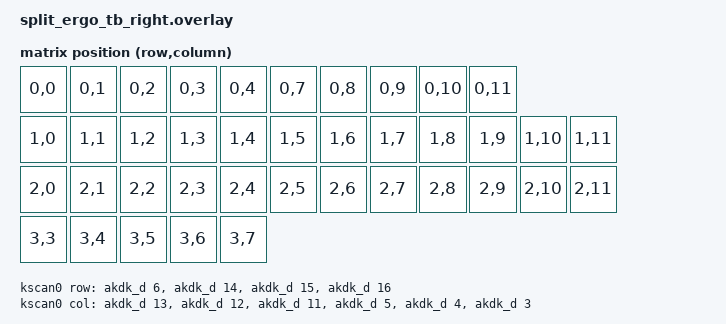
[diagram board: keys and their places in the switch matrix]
#include <dt-bindings/zmk/matrix_transform.h>   // 外部定義ファイルのインクルード
#include <input/processors.dtsi>                // インプットプロセッサのインクルード
#include <dt-bindings/zmk/input_transform.h>    // マトリクス変換のインクルード
#include "layouts.dtsi"                         // レイアウトファイルのインクルード

/ {
    chosen {                                    // 物理レイアウトの最優先設定
        zmk,physical-layout = &physical_layout0;
    };

    default_transform: keymap_transform_0 {     // キーマトリクスを実際の配置に対応付ける設定
        compatible = "zmk,matrix-transform";
        columns = <12>;
        rows = <4>;
        map = <
            RC(0,0) RC(0,1) RC(0,2) RC(0,3) RC(0,4) RC(0,7) RC(0,8) RC(0,9) RC(0,10) RC(0,11)
			RC(1,0) RC(1,1) RC(1,2) RC(1,3) RC(1,4) RC(1,5) RC(1,6) RC(1,7) RC(1,8) RC(1,9) RC(1,10) RC(1,11)
			RC(2,0) RC(2,1) RC(2,2) RC(2,3) RC(2,4) RC(2,5) RC(2,6) RC(2,7) RC(2,8) RC(2,9) RC(2,10) RC(2,11)
			RC(3,3) RC(3,4) RC(3,5) RC(3,6) RC(3,7)
        >;
		col-offset = <6>;                       // 右手側の列の開始位置をずらすオフセット
    };

    kscan0: kscan {                             // キー入力を検知するためのGPIOピンおよびスキャン設定
        compatible = "zmk,kscan-gpio-matrix";
        wakeup-source;                          // キー入力時にスリープから復帰する設定

        diode-direction = "col2row";           // ダイオードの方向（列から行）
        row-gpios                               // 行（タテのライン）に使用するGPIOピンの設定
            = <&akdk_d 6 (GPIO_ACTIVE_HIGH | GPIO_PULL_DOWN)>
			,<&akdk_d 14 (GPIO_ACTIVE_HIGH | GPIO_PULL_DOWN)>
			,<&akdk_d 15 (GPIO_ACTIVE_HIGH | GPIO_PULL_DOWN)>
			,<&akdk_d 16 (GPIO_ACTIVE_HIGH | GPIO_PULL_DOWN)>
            ;
        col-gpios                               // 列（ヨコのライン）に使用するGPIOピンの設定
            = <&akdk_d 13 GPIO_ACTIVE_HIGH>
			,<&akdk_d 12 GPIO_ACTIVE_HIGH>
			,<&akdk_d 11 GPIO_ACTIVE_HIGH>
			,<&akdk_d 5 GPIO_ACTIVE_HIGH>
			,<&akdk_d 4 GPIO_ACTIVE_HIGH>
			,<&akdk_d 3 GPIO_ACTIVE_HIGH>
            ;
    };

    trackball_listener: trackball_listener {    // トラックボールの入力を監視・加工するリスナー設定
        compatible = "zmk,input-listener";
        device = <&trackball>;
        input-processors = <&zip_xy_transform (INPUT_TRANSFORM_X_INVERT | INPUT_TRANSFORM_Y_INVERT)>, // 軸の反転設定
        <&zip_x_scaler 3 5>,                    // X軸スケーラー（速度調整）
        <&zip_y_scaler 3 5>;                    // Y軸スケーラー（速度調整）
        
        scroller {                              // スクロール設定
        layers = <1>;                       // Dキー長押し（レイヤー1）のときにスクロール追加
        input-processors = <&zip_xy_to_scroll_mapper>, // トラックボールの移動をスクロールに変換
                           <&zip_scroll_transform (INPUT_TRANSFORM_X_INVERT)>, // スクロールの軸反転
                           <&zip_scroll_scaler 1 4>; // スクロールの速度調整
        process-next;                       // 処理を次に引き渡す設定
                 };
        
    };
};

&physical_layout0 {                             // キースキャン設定と配列マップを物理レイアウトに適用
    kscan = <&kscan0>;
    transform = <&default_transform>;
};

&pinctrl {                                      // トラックボール（SPI通信）に使用するピンの割り当て設定
    spi0_default: spi0_default {                // 通常動作時のピン設定
        group1 {
            psels = <NRF_PSEL(SPIM_SCK, 0, 12)>,
                <NRF_PSEL(SPIM_MOSI, 1, 9)>,
                <NRF_PSEL(SPIM_MISO, 1, 9)>;
        };
    };

    spi0_sleep: spi0_sleep {                    // スリープ（省電力）時のピン設定
        group1 {
            psels = <NRF_PSEL(SPIM_SCK, 0, 12)>,
                <NRF_PSEL(SPIM_MOSI, 1, 9)>,
                <NRF_PSEL(SPIM_MISO, 1, 9)>;
            low-power-enable;
        };
    };
};

&spi0 {                                         // SPI通信およびトラックボールセンサー（PAW3222）の固有設定
    status = "okay";                            // SPI通信を有効化
    compatible = "nordic,nrf-spim";
    pinctrl-0 = <&spi0_default>;
    pinctrl-1 = <&spi0_sleep>;
    pinctrl-names = "default", "sleep";
    cs-gpios = <&gpio0 13 GPIO_ACTIVE_LOW>;     // チップセレクト（CS）ピン

    trackball: trackball@0 {                    // センサー本体の設定
        status = "okay";
        compatible = "pixart,paw3222";          // センサーの型番
        reg = <0>;
        spi-max-frequency = <2000000>;         // SPI通信の最大周波数（2MHz）
        irq-gpios = <&gpio0 15 GPIO_ACTIVE_LOW>; // 割り込み（モーション検知）ピン
    };
};
